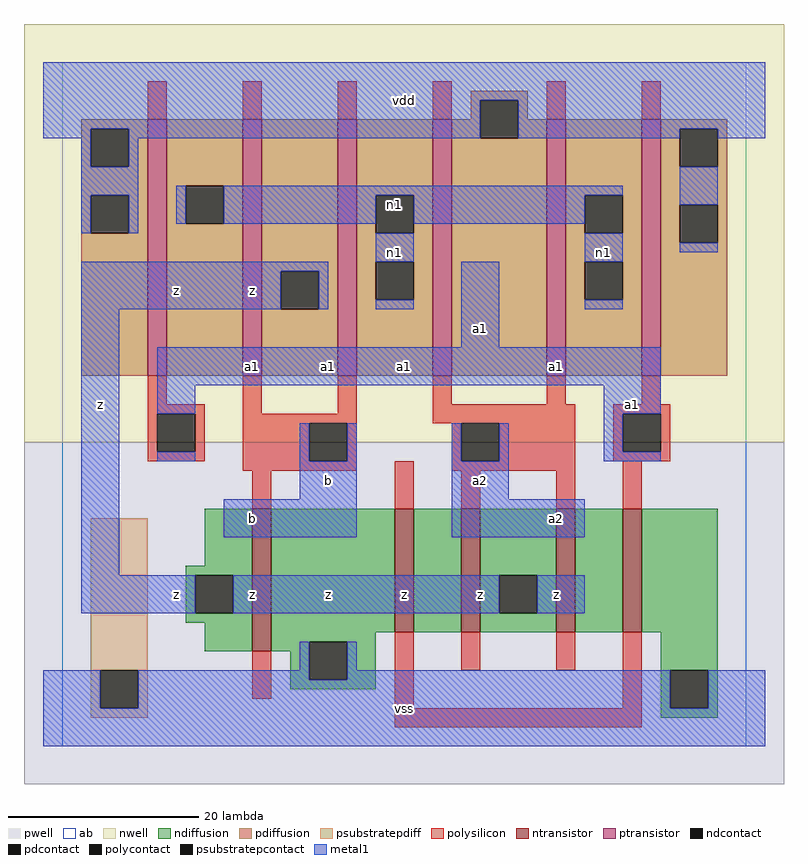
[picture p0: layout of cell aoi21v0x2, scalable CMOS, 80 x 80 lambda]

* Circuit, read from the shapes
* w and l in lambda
.subckt aoi21v0x2 a1 a2 b n1 vdd vss z
M1 vss b z vss nfet w=15 l=2
M2 n2 a1 vss vss nfet w=13 l=2
M3 z a2 n2 vss nfet w=13 l=2
M4 n3 a2 z vss nfet w=13 l=2
M5 vss a1 n3 vss nfet w=13 l=2
M6 n1 a1 vdd n4 pfet w=27 l=2 m=2
M7 z b n1 n4 pfet w=27 l=2 m=2
M8 vdd a2 n1 n4 pfet w=27 l=2 m=2
.ends

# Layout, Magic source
magic
tech scmos
<< ab >>
rect 0 0 72 72
<< pwell >>
rect -4 -4 76 32
<< nwell >>
rect -4 32 76 76
<< polysilicon >>
rect 9 66 11 70
rect 19 66 21 70
rect 29 66 31 70
rect 39 66 41 70
rect 51 66 53 70
rect 61 66 63 70
rect 9 36 11 39
rect 9 35 15 36
rect 9 31 10 35
rect 14 31 15 35
rect 9 30 15 31
rect 19 35 21 39
rect 29 35 31 39
rect 19 34 31 35
rect 39 36 41 39
rect 51 36 53 39
rect 61 36 63 39
rect 39 34 54 36
rect 19 30 26 34
rect 30 30 31 34
rect 41 30 42 34
rect 46 30 54 34
rect 58 35 64 36
rect 58 31 59 35
rect 63 31 64 35
rect 58 30 64 31
rect 19 29 31 30
rect 20 25 22 29
rect 35 25 37 30
rect 41 29 54 30
rect 42 25 44 29
rect 52 25 54 29
rect 59 25 61 30
rect 20 5 22 10
rect 35 4 37 12
rect 42 8 44 12
rect 52 8 54 12
rect 59 4 61 12
rect 35 2 61 4
<< ndiffusion >>
rect 15 19 20 25
rect 13 18 20 19
rect 13 14 14 18
rect 18 14 20 18
rect 13 13 20 14
rect 15 10 20 13
rect 22 12 35 25
rect 37 12 42 25
rect 44 18 52 25
rect 44 14 46 18
rect 50 14 52 18
rect 44 12 52 14
rect 54 12 59 25
rect 61 12 69 25
rect 22 11 33 12
rect 22 10 26 11
rect 24 7 26 10
rect 30 7 33 11
rect 24 6 33 7
rect 63 8 69 12
rect 63 4 64 8
rect 68 4 69 8
rect 63 3 69 4
<< pdiffusion >>
rect 43 68 49 69
rect 43 66 44 68
rect 2 65 9 66
rect 2 61 3 65
rect 7 61 9 65
rect 2 58 9 61
rect 2 54 3 58
rect 7 54 9 58
rect 2 39 9 54
rect 11 59 19 66
rect 11 55 13 59
rect 17 55 19 59
rect 11 39 19 55
rect 21 50 29 66
rect 21 46 23 50
rect 27 46 29 50
rect 21 39 29 46
rect 31 58 39 66
rect 31 54 33 58
rect 37 54 39 58
rect 31 51 39 54
rect 31 47 33 51
rect 37 47 39 51
rect 31 39 39 47
rect 41 64 44 66
rect 48 66 49 68
rect 48 64 51 66
rect 41 39 51 64
rect 53 58 61 66
rect 53 54 55 58
rect 59 54 61 58
rect 53 51 61 54
rect 53 47 55 51
rect 59 47 61 51
rect 53 39 61 47
rect 63 65 70 66
rect 63 61 65 65
rect 69 61 70 65
rect 63 57 70 61
rect 63 53 65 57
rect 69 53 70 57
rect 63 39 70 53
<< metal1 >>
rect -2 68 74 72
rect -2 65 44 68
rect -2 64 3 65
rect 2 61 3 64
rect 7 64 44 65
rect 48 65 74 68
rect 48 64 65 65
rect 7 61 8 64
rect 2 58 8 61
rect 69 64 74 65
rect 2 54 3 58
rect 7 54 8 58
rect 12 55 13 59
rect 17 58 59 59
rect 17 55 33 58
rect 37 55 55 58
rect 33 51 37 54
rect 55 51 59 54
rect 65 57 69 61
rect 65 52 69 53
rect 2 50 28 51
rect 2 46 23 50
rect 27 46 28 50
rect 33 46 37 47
rect 2 18 6 46
rect 42 42 46 51
rect 55 46 59 47
rect 10 38 63 42
rect 10 35 14 38
rect 57 35 63 38
rect 10 30 14 31
rect 25 30 26 34
rect 30 30 31 34
rect 25 26 31 30
rect 17 22 31 26
rect 41 30 42 34
rect 46 30 47 34
rect 57 31 59 35
rect 57 30 63 31
rect 41 26 47 30
rect 41 22 55 26
rect 2 14 14 18
rect 18 14 46 18
rect 50 14 55 18
rect 25 8 26 11
rect -2 4 4 8
rect 8 7 26 8
rect 30 8 31 11
rect 30 7 64 8
rect 8 4 64 7
rect 68 4 74 8
rect -2 0 74 4
<< ntransistor >>
rect 20 10 22 25
rect 35 12 37 25
rect 42 12 44 25
rect 52 12 54 25
rect 59 12 61 25
<< ptransistor >>
rect 9 39 11 66
rect 19 39 21 66
rect 29 39 31 66
rect 39 39 41 66
rect 51 39 53 66
rect 61 39 63 66
<< polycontact >>
rect 10 31 14 35
rect 26 30 30 34
rect 42 30 46 34
rect 59 31 63 35
<< ndcontact >>
rect 14 14 18 18
rect 46 14 50 18
rect 26 7 30 11
rect 64 4 68 8
<< pdcontact >>
rect 3 61 7 65
rect 3 54 7 58
rect 13 55 17 59
rect 23 46 27 50
rect 33 54 37 58
rect 33 47 37 51
rect 44 64 48 68
rect 55 54 59 58
rect 55 47 59 51
rect 65 61 69 65
rect 65 53 69 57
<< psubstratepcontact >>
rect 4 4 8 8
<< psubstratepdiff >>
rect 3 8 9 24
rect 3 4 4 8
rect 8 4 9 8
rect 3 3 9 4
<< labels >>
rlabel metal1 4 36 4 36 6 z
rlabel metal1 20 16 20 16 6 z
rlabel metal1 12 16 12 16 6 z
rlabel metal1 20 24 20 24 6 b
rlabel metal1 20 40 20 40 6 a1
rlabel metal1 12 48 12 48 6 z
rlabel metal1 20 48 20 48 6 z
rlabel metal1 36 4 36 4 6 vss
rlabel metal1 36 16 36 16 6 z
rlabel metal1 28 16 28 16 6 z
rlabel metal1 28 28 28 28 6 b
rlabel metal1 28 40 28 40 6 a1
rlabel metal1 36 40 36 40 6 a1
rlabel metal1 35 52 35 52 6 n1
rlabel metal1 36 68 36 68 6 vdd
rlabel metal1 52 16 52 16 6 z
rlabel metal1 44 16 44 16 6 z
rlabel metal1 52 24 52 24 6 a2
rlabel metal1 44 28 44 28 6 a2
rlabel metal1 52 40 52 40 6 a1
rlabel metal1 44 44 44 44 6 a1
rlabel metal1 60 36 60 36 6 a1
rlabel metal1 57 52 57 52 6 n1
rlabel pdcontact 35 57 35 57 6 n1
<< end >>
